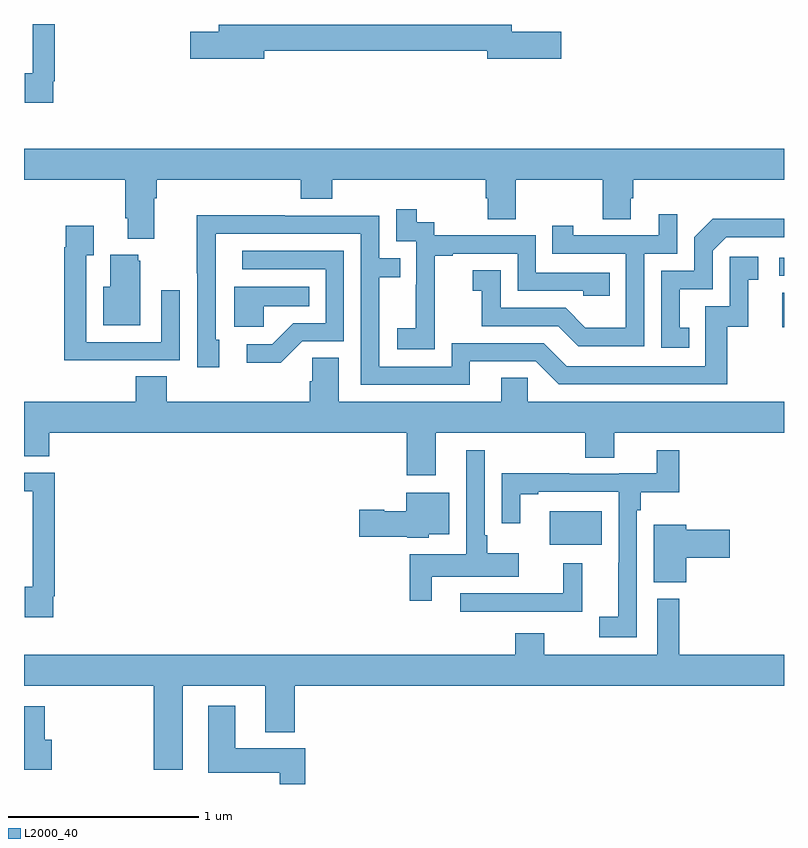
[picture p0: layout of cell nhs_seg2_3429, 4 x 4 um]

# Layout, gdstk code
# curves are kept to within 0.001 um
import gdstk
lib = gdstk.Library(unit=1e-6, precision=1e-09)
def R(c, l, rs):  # rectangles x0, y0, x1, y1
    for r in rs: c.add(gdstk.rectangle(r[:2], r[2:], *l))
def P(c, l, *ps):  # polygons
    for p in ps: c.add(gdstk.Polygon(p, *l))
L2000_40 = (2000, 40)

nhs_seg2_3429 = lib.new_cell('nhs_seg2_3429')
R(nhs_seg2_3429, L2000_40, [(293.768,635.06,294.04,635.236), (294.992,636.204,295,636.385), (294.975,636.474,295,636.57)])
P(nhs_seg2_3429, L2000_40, [(291.154,637.498),(291.161,637.498),(291.161,637.8),(291.045,637.8),(291.045,637.542),(291.005,637.542),(291.005,637.386),(291.154,637.386)],
  [(292.264,637.66),(293.438,637.66),(293.438,637.618),(293.827,637.618),(293.827,637.76),(293.566,637.76),(293.566,637.796),(292.025,637.796),(292.025,637.76),(291.876,637.76),(291.876,637.618),(292.264,637.618)],
  [(291.685,636.884),(291.698,636.884),(291.698,636.98),(292.457,636.98),(292.457,636.881),(292.622,636.881),(292.622,636.98),(293.429,636.98),(293.429,636.882),(293.441,636.882),(293.441,636.772),(293.589,636.772),(293.589,636.98),(294.046,636.98),(294.046,636.772),(294.193,636.772),(294.193,636.882),(294.206,636.882),(294.206,636.98),(295,636.98),(295,637.144),(291,637.144),(291,636.98),(291.533,636.98),(291.533,636.778),(291.545,636.778),(291.545,636.671),(291.685,636.671)],
  [(293.163,636.295),(293.162,636.295),(293.162,636.579),(293.257,636.579),(293.257,636.591),(293.598,636.591),(293.598,636.396),(293.943,636.396),(293.943,636.369),(294.083,636.369),(294.083,636.492),(293.694,636.492),(293.694,636.687),(293.16,636.687),(293.16,636.756),(293.068,636.756),(293.068,636.826),(292.959,636.826),(292.959,636.657),(293.064,636.657),(293.064,636.428),(293.063,636.428),(293.063,636.199),(292.965,636.199),(292.965,636.089),(293.163,636.089)],
  [(294.264,636.591),(294.438,636.591),(294.438,636.799),(294.341,636.799),(294.341,636.687),(293.89,636.687),(293.89,636.739),(293.779,636.739),(293.779,636.591),(294.168,636.591),(294.168,636.202),(293.954,636.202),(293.85,636.306),(293.508,636.306),(293.508,636.505),(293.361,636.505),(293.361,636.395),(293.41,636.395),(293.41,636.21),(293.813,636.21),(293.918,636.105),(294.264,636.105)],
  [(293.347,636.024),(293.694,636.024),(293.814,635.904),(294.701,635.904),(294.701,636.207),(294.812,636.207),(294.812,636.453),(294.865,636.453),(294.865,636.574),(294.714,636.574),(294.714,636.315),(294.585,636.315),(294.585,636),(293.856,636),(293.736,636.12),(293.25,636.12),(293.25,635.997),(292.869,635.997),(292.869,636.466),(292.979,636.466),(292.979,636.567),(292.869,636.567),(292.869,636.792),(292.373,636.792),(292.373,636.794),(291.91,636.794),(291.91,636.487),(291.912,636.487),(291.912,635.994),(292.027,635.994),(292.027,636.138),(292.008,636.138),(292.009,636.696),(292.773,636.696),(292.773,635.901),(293.347,635.901)],
  [(294.5,636.201),(294.451,636.201),(294.451,636.405),(294.624,636.405),(294.624,636.606),(294.696,636.678),(295,636.678),(295,636.776),(294.626,636.776),(294.528,636.678),(294.528,636.501),(294.354,636.501),(294.354,636.096),(294.5,636.096)],
  [(291.503,636.03),(291.819,636.03),(291.819,636.4),(291.723,636.4),(291.723,636.126),(291.327,636.126),(291.327,636.583),(291.367,636.583),(291.367,636.739),(291.219,636.739),(291.219,636.626),(291.211,636.626),(291.211,636.029),(291.503,636.029)],
  [(292.464,636.129),(292.683,636.129),(292.683,636.606),(292.149,636.606),(292.149,636.51),(292.587,636.51),(292.587,636.225),(292.418,636.225),(292.307,636.114),(292.173,636.114),(292.173,636.017),(292.351,636.017)],
  [(291.613,636.555),(291.602,636.555),(291.602,636.586),(291.455,636.586),(291.455,636.418),(291.416,636.418),(291.416,636.215),(291.613,636.215)],
  [(292.263,636.314),(292.502,636.314),(292.502,636.418),(292.106,636.418),(292.106,636.206),(292.263,636.206)],
  [(293.167,635.648),(293.954,635.648),(293.954,635.518),(294.106,635.518),(294.106,635.648),(295,635.648),(295,635.812),(293.652,635.812),(293.652,635.939),(293.513,635.939),(293.513,635.812),(292.657,635.812),(292.657,636.044),(292.518,636.044),(292.518,635.921),(292.505,635.921),(292.505,635.812),(291.752,635.812),(291.752,635.945),(291.587,635.945),(291.587,635.812),(291,635.812),(291,635.524),(291.134,635.524),(291.134,635.648),(293.015,635.648),(293.015,635.424),(293.167,635.424)],
  [(293.146,634.892),(293.605,634.892),(293.605,635.014),(293.437,635.014),(293.437,635.11),(293.424,635.11),(293.424,635.557),(293.328,635.557),(293.328,635.008),(293.029,635.008),(293.029,634.764),(293.146,634.764)],
  [(294.225,635.24),(294.245,635.24),(294.245,635.336),(294.449,635.336),(294.449,635.557),(294.331,635.557),(294.331,635.435),(294.132,635.435),(294.132,635.433),(293.87,635.433),(293.87,635.435),(293.514,635.435),(293.514,635.172),(293.611,635.172),(293.611,635.325),(293.707,635.325),(293.707,635.337),(294.129,635.337),(294.129,634.964),(294.128,634.964),(294.128,634.681),(294.027,634.681),(294.027,634.572),(294.225,634.572)],
  [(291.154,634.789),(291.161,634.789),(291.161,635.439),(291,635.439),(291,635.342),(291.045,635.342),(291.045,634.838),(291.005,634.838),(291.005,634.677),(291.154,634.677)],
  [(293.13,635.114),(293.239,635.114),(293.239,635.332),(293.012,635.332),(293.012,635.236),(292.896,635.236),(292.896,635.244),(292.764,635.244),(292.764,635.102),(293.016,635.102),(293.016,635.096),(293.13,635.096)],
  [(294.485,634.991),(294.715,634.991),(294.715,635.138),(294.485,635.138),(294.485,635.164),(294.314,635.164),(294.314,634.861),(294.485,634.861)],
  [(293.939,634.963),(293.839,634.963),(293.839,634.803),(293.295,634.803),(293.295,634.707),(293.939,634.707)],
  [(295,634.48),(294.449,634.48),(294.449,634.776),(294.333,634.776),(294.333,634.48),(293.737,634.48),(293.737,634.594),(293.585,634.594),(293.585,634.48),(291,634.48),(291,634.316),(291.683,634.316),(291.683,633.875),(291.835,633.875),(291.835,634.316),(292.271,634.316),(292.271,634.073),(292.424,634.073),(292.424,634.316),(295,634.316)],
  [(292.481,633.988),(292.111,633.988),(292.111,634.213),(291.971,634.213),(291.971,633.86),(292.346,633.86),(292.346,633.8),(292.481,633.8)],
  [(291.145,634.033),(291.11,634.033),(291.11,634.21),(291,634.21),(291,633.875),(291.145,633.875)])

lib.write_gds('nhs_seg2_3429.gds')
